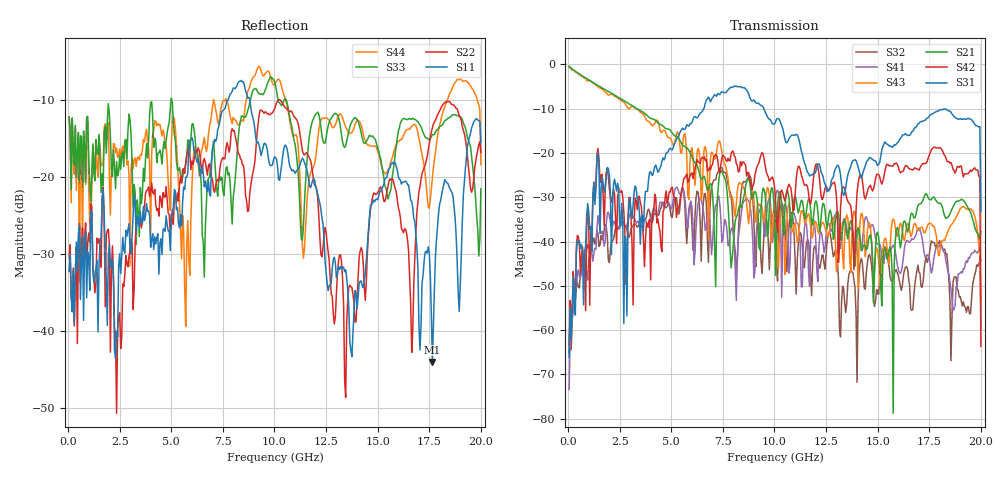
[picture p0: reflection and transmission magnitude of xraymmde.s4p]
! .\\xraymmde.s4p
! written by LeCroy Virtual Probe(tm)
! freq S11 S12 S13 S14
! S21 S22 S23 S24
! S31 S32 S33 S34
! S41 S42 S43 S44
# MHz S MA R 50.00
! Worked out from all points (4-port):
!   400 points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, 50 MHz to 20 GHz, reference 50 ohm
!   strongest paths, dB at 50 MHz, 5.05 GHz, 10.05 GHz, 15.05 GHz, 20 GHz:
!     S31: -66.2, -19.3, -13.0, -22.6, -33.2
!     S42: -63.5, -27.7, -30.3, -24.9, -63.7
!     S21: -0.4, -15.5, -47.6, -39.1, -37.8
!     S43: -0.7, -17.7, -33.6, -44.5, -52.3
!     S41: -73.4, -32.0, -29.9, -40.6, -59.6
!     S32: -65.1, -34.6, -37.6, -51.9, -44.2
!   lowest |S11| = -44.0 dB at 17.65 GHz (marker M1), VSWR 1.01, Z = 49.5 - j0.322 ohm
!   |S11| at or under -10 dB: start of sweep to 7.751 GHz; 8.806 GHz to end of sweep
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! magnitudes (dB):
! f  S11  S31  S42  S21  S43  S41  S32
! 50 MHz  -32.2  -66.2  -63.5  -0.4  -0.7  -73.4  -65.1
! 1.45 GHz  -40.1  -20.0  -19.0  -4.8  -5.1  -34.2  -38.3
! 2.7 GHz  -29.5  -58.5  -33.2  -8.2  -8.5  -36.0  -36.1
! 15.75 GHz  -18.3  -18.5  -22.9  -78.8  -34.9  -40.8  -48.4
! 17.65 GHz  -44.0  -11.1  -19.0  -30.1  -36.5  -46.4  -40.1
! 19.95 GHz  -12.8  -14.0  -25.6  -39.4  -43.3  -41.2  -44.5
! 20 GHz  -15.5  -33.2  -63.7  -37.8  -52.3  -59.6  -44.2
